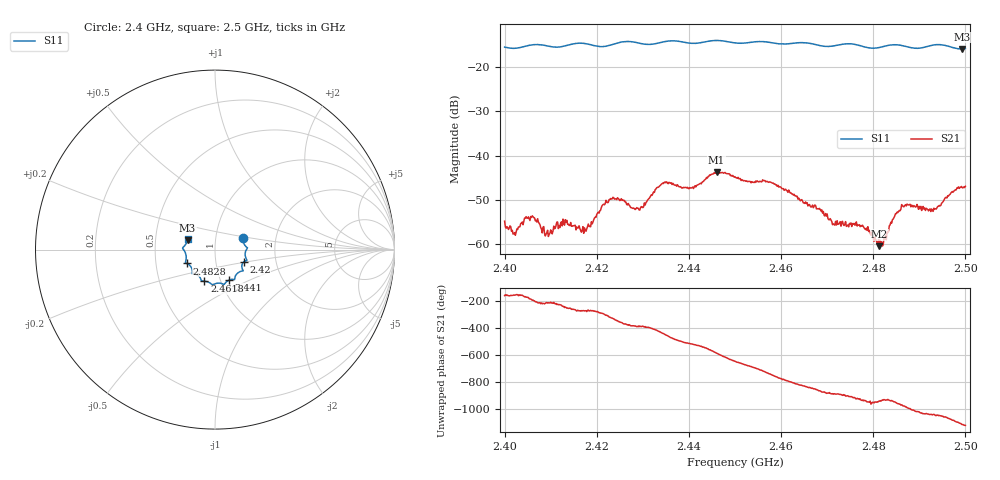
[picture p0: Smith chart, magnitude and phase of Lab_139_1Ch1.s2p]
# Hz S RI R 50
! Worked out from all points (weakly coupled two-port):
!   601 points, 2.4 GHz to 2.5 GHz, reference 50 ohm
!   highest |S21| = -43.78 dB at 2.446 GHz (marker M1); lowest = -60.5 dB at 2.4813 GHz (marker M2)
!   lowest |S11| = -15.8 dB at 2.4993 GHz (marker M3), VSWR 1.39, Z = 36.6 + j3.86 ohm
!   |S11| at or under -10 dB: start of sweep to end of sweep
!   S12 and S22 are empty: the file has one direction only
!   S11 on the Smith chart (normalised r, x): 2.4 GHz: 1.36, +0.18; 2.42 GHz: 1.36, -0.20; 2.441 GHz: 1.10, -0.39; 2.4618 GHz: 0.84, -0.30; 2.4828 GHz: 0.72, -0.11; 2.5 GHz: 0.73, +0.09
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2.4e9  0.1575 0.0631  -0.00171 -0.000582  0 0  0 0
2.402e9  0.1594 0.0387  -0.00119 -0.000519  0 0  0 0
2.406167e9  0.1798 0.0116  -0.00197 0.000508  0 0  0 0
2.409167e9  0.1753 0.00129  -0.00114 0.000723  0 0  0 0
2.413167e9  0.17 -0.0414  -0.00078 0.00171  0 0  0 0
2.416667e9  0.1778 -0.06  3.59e-05 0.00136  0 0  0 0
2.42e9  0.1592 -0.0696  0.000411 0.00212  0 0  0 0
2.423167e9  0.15 -0.0992  0.00268 0.0018  0 0  0 0
2.429667e9  0.1396 -0.1226  0.00228 -0.00133  0 0  0 0
2.433333e9  0.1121 -0.1511  0.00196 -0.00391  0 0  0 0
2.441e9  0.0786 -0.1694  -0.00404 -0.00129  0 0  0 0
2.446e9  0.0508 -0.195  -0.00449 0.00466  0 0  0 0
2.45e9  0.0285 -0.1869  0.00164 0.00553  0 0  0 0
2.461833e9  -0.0593 -0.1758  0.000852 -0.00379  0 0  0 0
2.466667e9  -0.0777 -0.1681  -0.00159 -0.00213  0 0  0 0
2.481333e9  -0.1455 -0.0837  -0.000708 0.000623  0 0  0 0
2.482833e9  -0.1573 -0.0773  -0.000944 0.00059  0 0  0 0
2.483333e9  -0.1605 -0.0761  -0.00119 0.000763  0 0  0 0
2.486667e9  -0.1627 -0.0633  -0.000583 0.00257  0 0  0 0
2.493e9  -0.1787 0.00426  0.00177 0.00152  0 0  0 0
2.499333e9  -0.1531 0.0514  0.00355 -0.00246  0 0  0 0
2.5e9  -0.1517 0.061  0.00339 -0.00295  0 0  0 0
